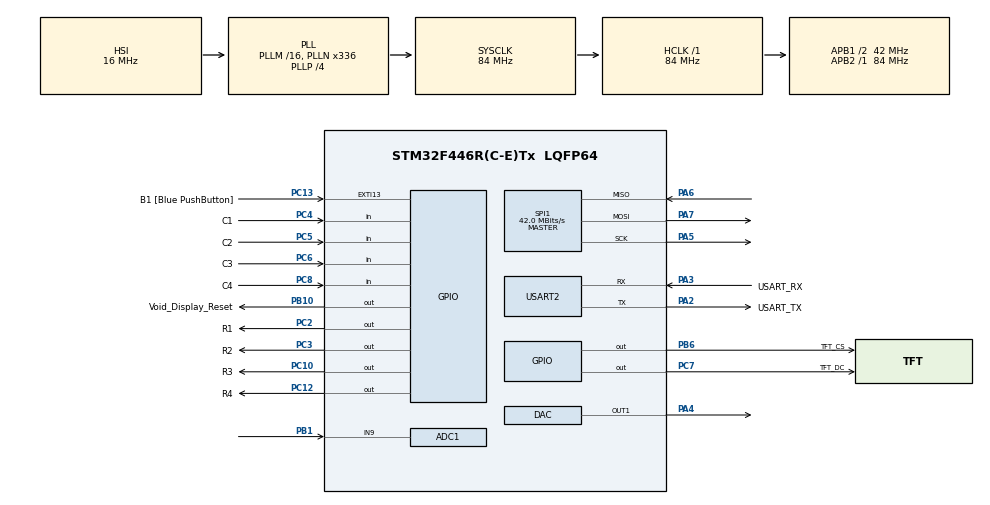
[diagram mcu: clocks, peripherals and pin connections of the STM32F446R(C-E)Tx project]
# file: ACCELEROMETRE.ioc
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ADC1.Channel-1\#ChannelRegularConversion=ADC_CHANNEL_9
ADC1.DMAContinuousRequests=ENABLE
ADC1.ExternalTrigConv=ADC_EXTERNALTRIGCONV_T2_TRGO
ADC1.NbrOfConversionFlag=1
ADC1.Rank-1\#ChannelRegularConversion=1
ADC1.SamplingTime-1\#ChannelRegularConversion=ADC_SAMPLETIME_3CYCLES
ADC1.master=1
DAC.DAC_Trigger=DAC_TRIGGER_T2_TRGO
Dma.ADC1.1.Direction=DMA_PERIPH_TO_MEMORY
Dma.ADC1.1.FIFOMode=DMA_FIFOMODE_DISABLE
Dma.ADC1.1.Instance=DMA2_Stream0
Dma.ADC1.1.MemDataAlignment=DMA_MDATAALIGN_WORD
Dma.ADC1.1.MemInc=DMA_MINC_ENABLE
Dma.ADC1.1.Mode=DMA_CIRCULAR
Dma.ADC1.1.PeriphDataAlignment=DMA_PDATAALIGN_WORD
Dma.ADC1.1.PeriphInc=DMA_PINC_DISABLE
Dma.ADC1.1.Priority=DMA_PRIORITY_HIGH
Dma.DAC1.2.Direction=DMA_MEMORY_TO_PERIPH
Dma.DAC1.2.FIFOMode=DMA_FIFOMODE_DISABLE
Dma.DAC1.2.Instance=DMA1_Stream5
Dma.DAC1.2.MemDataAlignment=DMA_MDATAALIGN_WORD
Dma.DAC1.2.MemInc=DMA_MINC_ENABLE
Dma.DAC1.2.Mode=DMA_CIRCULAR
Dma.DAC1.2.PeriphDataAlignment=DMA_PDATAALIGN_WORD
Dma.DAC1.2.PeriphInc=DMA_PINC_DISABLE
Dma.DAC1.2.Priority=DMA_PRIORITY_HIGH
Dma.Request0=SPI1_TX
Dma.Request1=ADC1
Dma.Request2=DAC1
Dma.SPI1_TX.0.Direction=DMA_MEMORY_TO_PERIPH
Dma.SPI1_TX.0.FIFOMode=DMA_FIFOMODE_DISABLE
Dma.SPI1_TX.0.Instance=DMA2_Stream3
Dma.SPI1_TX.0.MemDataAlignment=DMA_MDATAALIGN_BYTE
Dma.SPI1_TX.0.MemInc=DMA_MINC_ENABLE
Dma.SPI1_TX.0.Mode=DMA_NORMAL
Dma.SPI1_TX.0.PeriphDataAlignment=DMA_PDATAALIGN_BYTE
Dma.SPI1_TX.0.PeriphInc=DMA_PINC_DISABLE
Dma.SPI1_TX.0.Priority=DMA_PRIORITY_LOW
Mcu.Family=STM32F4
Mcu.Name=STM32F446R(C-E)Tx
Mcu.Package=LQFP64
NVIC.DMA1_Stream5_IRQn=true\:0\:0\:false\:false\:true\:false\:true\:true
NVIC.DMA2_Stream0_IRQn=true\:0\:0\:false\:false\:true\:false\:true\:true
NVIC.DMA2_Stream3_IRQn=true\:0\:0\:false\:false\:true\:false\:true\:true
NVIC.PriorityGroup=NVIC_PRIORITYGROUP_0
NVIC.SPI1_IRQn=true\:0\:0\:false\:false\:true\:true\:true\:true
PA13.GPIO_Label=TMS
PA13.Mode=Serial_Wire
PA13.Signal=SYS_JTMS-SWDIO
PA14.GPIO_Label=TCK
PA14.Mode=Serial_Wire
PA14.Signal=SYS_JTCK-SWCLK
PA2.GPIO_Label=USART_TX
PA2.Mode=Asynchronous
PA2.Signal=USART2_TX
PA3.GPIO_Label=USART_RX
PA3.Mode=Asynchronous
PA3.Signal=USART2_RX
PA4.Signal=COMP_DAC1_group
PA5.Mode=Full_Duplex_Master
PA5.Signal=SPI1_SCK
PA6.Mode=Full_Duplex_Master
PA6.Signal=SPI1_MISO
PA7.Mode=Full_Duplex_Master
PA7.Signal=SPI1_MOSI
PB1.Signal=ADCx_IN9
PB10.GPIO_Label=Void_Display_Reset
PB10.Signal=GPIO_Output
PB3.GPIO_Label=SWO
PB3.Signal=SYS_JTDO-SWO
PB6.GPIO_Label=TFT_CS
PB6.Signal=GPIO_Output
PC10.GPIO_Label=R3
PC10.GPIO_ModeDefaultOutputPP=GPIO_MODE_OUTPUT_OD
PC10.GPIO_PuPd=GPIO_NOPULL
PC10.Signal=GPIO_Output
PC12.GPIO_Label=R4
PC12.GPIO_ModeDefaultOutputPP=GPIO_MODE_OUTPUT_OD
PC12.GPIO_PuPd=GPIO_NOPULL
PC12.Signal=GPIO_Output
PC13.GPIO_Label=B1 [Blue PushButton]
PC13.GPIO_ModeDefaultEXTI=GPIO_MODE_IT_FALLING
PC13.Signal=GPXTI13
PC14-OSC32_IN.Mode=LSE-External-Oscillator
PC14-OSC32_IN.Signal=RCC_OSC32_IN
PC15-OSC32_OUT.Mode=LSE-External-Oscillator
PC15-OSC32_OUT.Signal=RCC_OSC32_OUT
PC2.GPIO_Label=R1
PC2.GPIO_ModeDefaultOutputPP=GPIO_MODE_OUTPUT_OD
PC2.GPIO_PuPd=GPIO_NOPULL
PC2.Signal=GPIO_Output
PC3.GPIO_Label=R2
PC3.GPIO_ModeDefaultOutputPP=GPIO_MODE_OUTPUT_OD
PC3.GPIO_PuPd=GPIO_NOPULL
PC3.Signal=GPIO_Output
PC4.GPIO_Label=C1
PC4.GPIO_PuPd=GPIO_PULLUP
PC4.Signal=GPIO_Input
PC5.GPIO_Label=C2
PC5.GPIO_PuPd=GPIO_PULLUP
PC5.Signal=GPIO_Input
PC6.GPIO_Label=C3
PC6.GPIO_PuPd=GPIO_PULLUP
PC6.Signal=GPIO_Input
PC7.GPIO_Label=TFT_DC
PC7.Signal=GPIO_Output
PC8.GPIO_Label=C4
PC8.GPIO_PuPd=GPIO_PULLUP
PC8.Signal=GPIO_Input
PH0-OSC_IN.Mode=HSE-External-Oscillator
PH0-OSC_IN.Signal=RCC_OSC_IN
PH1-OSC_OUT.Mode=HSE-External-Oscillator
PH1-OSC_OUT.Signal=RCC_OSC_OUT
ProjectManager.HeapSize=0x200
ProjectManager.StackSize=0x400
ProjectManager.TargetToolchain=MDK-ARM V5.32
RCC.48MHZClocksFreq_Value=84000000
RCC.AHBFreq_Value=84000000
RCC.APB1CLKDivider=RCC_HCLK_DIV2
RCC.APB1Freq_Value=42000000
RCC.APB1TimFreq_Value=84000000
RCC.APB2Freq_Value=84000000
RCC.APB2TimFreq_Value=84000000
RCC.CortexFreq_Value=84000000
RCC.FLatency-AdvancedSettings=FLASH_LATENCY_2
RCC.HCLKFreq_Value=84000000
RCC.HSE_VALUE=8000000
RCC.HSI_VALUE=16000000
RCC.PLLN=336
RCC.PLLP=RCC_PLLP_DIV4
RCC.SYSCLKFreq_VALUE=84000000
RCC.SYSCLKSource=RCC_SYSCLKSOURCE_PLLCLK
RCC.USBFreq_Value=168000000
RCC.VCOOutputFreq_Value=336000000
SH.ADCx_IN9.0=ADC1_IN9,IN9
SH.COMP_DAC1_group.0=DAC_OUT1,DAC_OUT1
SPI1.CalculateBaudRate=42.0 MBits/s
SPI1.Direction=SPI_DIRECTION_2LINES
SPI1.Mode=SPI_MODE_MASTER
SPI1.VirtualType=VM_MASTER
TIM2.Period=24
TIM2.Prescaler=83
TIM2.TIM_MasterOutputTrigger=TIM_TRGO_UPDATE
USART2.VirtualMode=VM_ASYNC
VP_TIM2_VS_ClockSourceINT.Mode=Internal
board=NUCLEO-F446RE

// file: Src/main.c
/* USER CODE BEGIN Header */
/**
  ******************************************************************************
  * @file           : main.c
  * @brief          : Main program body
  ******************************************************************************
  * @attention
  *
  * Copyright (c) 2024 STMicroelectronics.
  * All rights reserved.
  *
  * This software is licensed under terms that can be found in the LICENSE file
  * in the root directory of this software component.
  * If no LICENSE file comes with this software, it is provided AS-IS.
  *
  ******************************************************************************
  */

/* USER CODE END Header */
#include "main.h"
#include "adc.h"
#include "dac.h"
#include "dma.h"
#include "spi.h"
#include "tim.h"
#include "usart.h"
#include "gpio.h"

/* USER CODE BEGIN Includes */
#include "stdio.h"
#include "math.h"

#include "ili9341.h"
#include "ili9341_gfx.h"
/* USER CODE END Includes */

/* USER CODE BEGIN PV */
ili9341_t *_screen;
float xx = 350;
float yy = 1450;
int zz = 500;
int freq = 40000;
int temps;
int curTime = 0;
#define TABLE_LENGTH 10000
uint32_t tab_value1[TABLE_LENGTH];
uint32_t tab_value2[TABLE_LENGTH];
double gain;
volatile int flag_done = 0;
volatile int flag_end = 0;
volatile int flag_table = 1;
volatile int flag_high = 0;

#define TABLE_LENGTH_AMP 1000
uint32_t tab_valueAmp[TABLE_LENGTH_AMP];
float k = 0.7; // amplitude du vibrato
float ampIndex = 0;
float A = 0;

//#define TABLE_LENGTH_s 10000
//uint32_t tab_value_s[TABLE_LENGTH_s];
//float k = 0.7;
//float value_S = 100;

/* USER CODE END PV */

void SystemClock_Config(void);

int main(void)
{

  /* MCU Configuration--------------------------------------------------------*/

  /* Reset of all peripherals, Initializes the Flash interface and the Systick. */
  HAL_Init();

  /* Configure the system clock */
  SystemClock_Config();

  /* Initialize all configured peripherals */
  MX_GPIO_Init();
  MX_DMA_Init();
  MX_USART2_UART_Init();
  MX_SPI1_Init();
  MX_ADC1_Init();
  MX_TIM2_Init();
  MX_DAC_Init();
  /* USER CODE BEGIN 2 */
	_screen = ili9341_new(
		&hspi1,
		Void_Display_Reset_GPIO_Port, Void_Display_Reset_Pin,
		TFT_CS_GPIO_Port, TFT_CS_Pin,
		TFT_DC_GPIO_Port, TFT_DC_Pin,
		isoLandscape,
		NULL, NULL,
		NULL, NULL,
		itsNotSupported,
		itnNormalized);

	ili9341_fill_screen(_screen, ILI9341_BLACK);
	ili9341_text_attr_t text_attr = {&ili9341_font_11x18, ILI9341_WHITE, ILI9341_BLACK,0,0};

  /* USER CODE END 2 */

  /* Infinite loop */
  /* USER CODE BEGIN WHILE */

	for (int i=0;i<TABLE_LENGTH_AMP;i++) {
		float value_s = 1.+k*sin(3.1415*(((float)i)/(500)));
		tab_valueAmp[i]= value_s * 1000;
	}

	HAL_TIM_Base_Start(&htim2);
	HAL_DAC_Start_DMA(&hdac, DAC_CHANNEL_1, tab_value1, TABLE_LENGTH, DAC_ALIGN_12B_R);
	gain = pow ((double)(yy/xx), (double)zz/6000);

  while (1)
  {
    /* USER CODE END WHILE */

    /* USER CODE BEGIN 3 */

		while (flag_end == 0){};
		flag_end = 0;
		temps++;
		curTime = temps*(TABLE_LENGTH*1000/freq);

		if (curTime%zz == 0){
			if (curTime <= 6000){
				xx *= gain;
				for (int i=0;i<TABLE_LENGTH;i++) {
					A = tab_valueAmp[(int)floor((double)ampIndex/20)%TABLE_LENGTH_AMP];
					if (i%((int) (freq/xx/2)) == 0) {flag_high = !flag_high;}
					float value = (flag_high)*((100)* A/1000);
					if (flag_table) tab_value2[i]=(int) value;
					else tab_value1[i]=(int) value;
					ampIndex = ampIndex + 1;
				}
			}
			else {
				xx /= gain;
				for (int i=0;i<TABLE_LENGTH;i++) {
					A = tab_valueAmp[(int)floor((double)ampIndex/20)%TABLE_LENGTH_AMP];
					if (i%((int) (freq/xx/2)) == 0) {flag_high = !flag_high;}
					float value = (flag_high)*((100)* A/1000);
					if (flag_table) tab_value2[i]=(int) value;
					else tab_value1[i]=(int) value;
					ampIndex = ampIndex + 1;
				}
			}

			if (curTime >= 12000) {temps = 0;}
		}

//		ili9341_fill_screen(_screen, ILI9341_BLACK);
//		char buf[80];
//		sprintf(buf,"Temps:%i\r\nXX:%f\r\ntest:%f", curTime, xx, A/1000);
//		ili9341_text_attr_t text_attr = {&ili9341_font_11x18,ILI9341_WHITE,
//		ILI9341_BLACK,40,0};
//		ili9341_draw_string(_screen, text_attr, buf);
		;
	}
  /* USER CODE END 3 */
}

void SystemClock_Config(void)
{
  RCC_OscInitTypeDef RCC_OscInitStruct = {0};
  RCC_ClkInitTypeDef RCC_ClkInitStruct = {0};

  /** Configure the main internal regulator output voltage
  */
  __HAL_RCC_PWR_CLK_ENABLE();
  __HAL_PWR_VOLTAGESCALING_CONFIG(PWR_REGULATOR_VOLTAGE_SCALE3);

  /** Initializes the RCC Oscillators according to the specified parameters
  * in the RCC_OscInitTypeDef structure.
  */
  RCC_OscInitStruct.OscillatorType = RCC_OSCILLATORTYPE_HSI;
  RCC_OscInitStruct.HSIState = RCC_HSI_ON;
  RCC_OscInitStruct.HSICalibrationValue = RCC_HSICALIBRATION_DEFAULT;
  RCC_OscInitStruct.PLL.PLLState = RCC_PLL_ON;
  RCC_OscInitStruct.PLL.PLLSource = RCC_PLLSOURCE_HSI;
  RCC_OscInitStruct.PLL.PLLM = 16;
  RCC_OscInitStruct.PLL.PLLN = 336;
  RCC_OscInitStruct.PLL.PLLP = RCC_PLLP_DIV4;
  RCC_OscInitStruct.PLL.PLLQ = 2;
  RCC_OscInitStruct.PLL.PLLR = 2;
  if (HAL_RCC_OscConfig(&RCC_OscInitStruct) != HAL_OK)
  {
    Error_Handler();
  }

  /** Initializes the CPU, AHB and APB buses clocks
  */
  RCC_ClkInitStruct.ClockType = RCC_CLOCKTYPE_HCLK|RCC_CLOCKTYPE_SYSCLK
                              |RCC_CLOCKTYPE_PCLK1|RCC_CLOCKTYPE_PCLK2;
  RCC_ClkInitStruct.SYSCLKSource = RCC_SYSCLKSOURCE_PLLCLK;
  RCC_ClkInitStruct.AHBCLKDivider = RCC_SYSCLK_DIV1;
  RCC_ClkInitStruct.APB1CLKDivider = RCC_HCLK_DIV2;
  RCC_ClkInitStruct.APB2CLKDivider = RCC_HCLK_DIV1;

  if (HAL_RCC_ClockConfig(&RCC_ClkInitStruct, FLASH_LATENCY_2) != HAL_OK)
  {
    Error_Handler();
  }
}

/* USER CODE BEGIN 4 */
int fputc(int ch, FILE *f)
{
 /* Place your implementation of fputc here */
 /* e.g. write a character to the USART2 and Loop until the end of transmission */
	HAL_UART_Transmit(&huart2, (uint8_t *)&ch, 1, 0xFFFF);
	return ch;
}

void HAL_DAC_ConvCpltCallbackCh1(DAC_HandleTypeDef* hdac) {
	flag_end=1;
	if (flag_table){
		HAL_DAC_Start_DMA(hdac, DAC_CHANNEL_1, tab_value2, TABLE_LENGTH, DAC_ALIGN_12B_R);
		flag_table = !flag_table;

	}
	else {
		HAL_DAC_Start_DMA(hdac, DAC_CHANNEL_1, tab_value1, TABLE_LENGTH, DAC_ALIGN_12B_R);
		flag_table = !flag_table;

	}
}

/* USER CODE END 4 */

void Error_Handler(void)
{
  __disable_irq();
  while (1)
  {
  }
}
